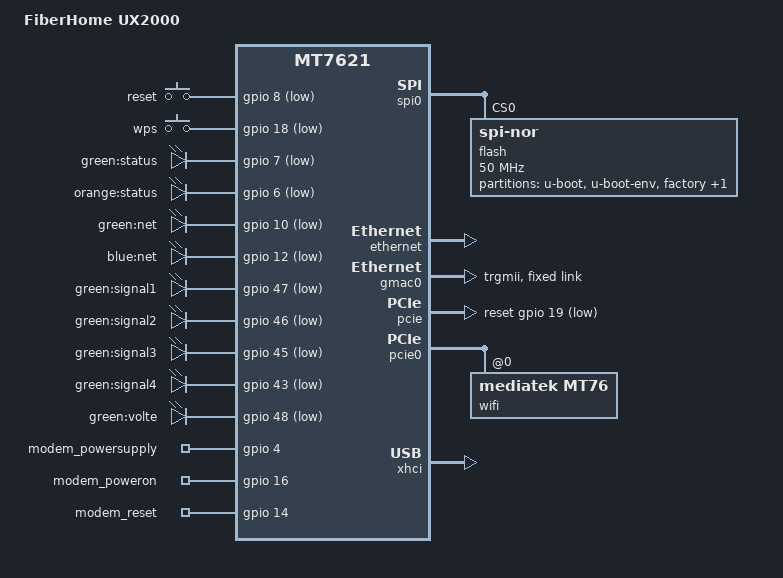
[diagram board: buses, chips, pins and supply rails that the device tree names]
// SPDX-License-Identifier: GPL-2.0-or-later OR MIT
// FiberHome UX2000 (OEM DITO UX2000_CNV) - MT7621AT + Quectel RM500U-CNV (USB 5G)
// Ported from the stock 18.06-era vendor firmware to kernel 6.12 (OpenWrt 25.12).
//
// Wi-Fi: ONE MediaTek MT7615 (DBDC) on PCIe port 0 provides BOTH bands.
//   Stock bootlog: RTMPInitPCIeDevice():device_id=0x7615, DBDC Mode=1,
//   Band0 = ch1 2x2 (2.4 GHz), Band1 = ch36 2x2 (5 GHz).
//   There is NO MT7603 and NO MT7662 on this board; PCIe ports 1 and 2 are
//   physically unpopulated ("PCIe port 1/2 link down" in the stock log).
//   EEPROM lives at Factory offset 0x0 (1024 bytes). Byte 0x3e = 0x30, so
//   MT_EE_NIC_WIFI_CONF_BAND_SEL == 3 == MT_EE_DBDC, which makes mt7615e set
//   dbdc_support and register the second (5 GHz) phy from the same chip.

/dts-v1/;

#include "mt7621.dtsi"

#include <dt-bindings/gpio/gpio.h>
#include <dt-bindings/input/input.h>

/ {
	compatible = "fiberhome,ux2000", "mediatek,mt7621-soc";
	model = "FiberHome UX2000";

	aliases {
		led-boot        = &led_status_green;
		led-failsafe    = &led_status_orange;
		led-running     = &led_status_green;
		led-upgrade     = &led_status_orange;
		label-mac-device = &gmac0;
	};

	chosen {
		bootargs = "console=ttyS0,115200";
	};

	keys {
		compatible = "gpio-keys";

		reset {
			label = "reset";
			gpios = <&gpio 8 GPIO_ACTIVE_LOW>;
			linux,code = <KEY_RESTART>;
		};

		wps {
			label = "wps";
			gpios = <&gpio 18 GPIO_ACTIVE_LOW>;
			linux,code = <KEY_WPS_BUTTON>;
		};
	};

	leds {
		compatible = "gpio-leds";

		/* Power LED is a single bi-color LED. Verified by GPIO dump:
		 *   gpio6 = ORANGE element (clear/low = on)
		 *   gpio7 = GREEN  element (clear/low = on)
		 * Both are active-low. Original DTS had these swapped, so the
		 * green-labeled node drove the orange element -> the box booted
		 * with an orange power LED. Green now carries the running/boot
		 * alias and lights at power-on; orange is used for
		 * failsafe/upgrade only.
		 */
		led_status_green: status_green {
			label = "green:status";
			gpios = <&gpio 7 GPIO_ACTIVE_LOW>;
			default-state = "on";
		};

		led_status_orange: status_orange {
			label = "orange:status";
			gpios = <&gpio 6 GPIO_ACTIVE_LOW>;
		};

		led_net_green: net_green {
			label = "green:net";
			gpios = <&gpio 10 GPIO_ACTIVE_LOW>;
		};

		led_net_blue: net_blue {
			label = "blue:net";
			gpios = <&gpio 12 GPIO_ACTIVE_LOW>;
		};

		/* RF signal-strength bars. Verified ordering from GPIO dump
		 * (clear = LED on): gpio47 = 1st bar ... gpio43 = 4th bar,
		 * gpio48 = voLTE/voNR indicator.
		 */
		led_signal0 {
			label = "green:signal1";
			gpios = <&gpio 47 GPIO_ACTIVE_LOW>;
		};

		led_signal1 {
			label = "green:signal2";
			gpios = <&gpio 46 GPIO_ACTIVE_LOW>;
		};

		led_signal2 {
			label = "green:signal3";
			gpios = <&gpio 45 GPIO_ACTIVE_LOW>;
		};

		led_signal3 {
			label = "green:signal4";
			gpios = <&gpio 43 GPIO_ACTIVE_LOW>;
		};

		led_line {
			label = "green:volte";
			gpios = <&gpio 48 GPIO_ACTIVE_LOW>;
		};
	};

	// Modem control lines (Quectel RM500U). Exposed as /sys/class/gpio exports
	// via the gpio-export driver (hack-6.12/800-... patch).
	// Stock DTS encodes all three with flag 0x0 == GPIO_ACTIVE_HIGH.
	gpio-export {
		compatible = "gpio-export";
		#size-cells = <0>;

		modem_powersupply {
			gpio-export,name = "modem_powersupply";
			gpio-export,output = <1>;
			gpios = <&gpio 4 GPIO_ACTIVE_HIGH>;
		};

		modem_poweron {
			gpio-export,name = "modem_poweron";
			gpio-export,output = <1>;
			gpios = <&gpio 16 GPIO_ACTIVE_HIGH>;
		};

		modem_reset {
			gpio-export,name = "modem_reset";
			gpio-export,output = <0>;
			gpios = <&gpio 14 GPIO_ACTIVE_HIGH>;
		};
	};
};

&spi0 {
	status = "okay";

	flash@0 {
		compatible = "jedec,spi-nor";
		reg = <0>;
		spi-max-frequency = <50000000>;
		m25p,fast-read;

		partitions {
			compatible = "fixed-partitions";
			#address-cells = <1>;
			#size-cells = <1>;

			partition@0 {
				label = "u-boot";
				reg = <0x00000 0x30000>;
				read-only;
			};

			partition@30000 {
				label = "u-boot-env";
				reg = <0x30000 0x10000>;
			};

			/* NOTE: the DragonBluep U-Boot in use declares
			 *   mtdparts=raspi:192k(u-boot),64k(u-boot-env),64k(factory),-(firmware)
			 * so factory is 64k (NOT the stock 128k) and firmware starts
			 * at 0x50000. These MUST match the bootloader or U-Boot writes
			 * the image somewhere the kernel does not look.
			 */
			factory: partition@40000 {
				label = "factory";
				reg = <0x40000 0x10000>;
				/* NOT marked read-only: MTD enforces that flag in the
				 * kernel and even "mtd -f write" cannot override it,
				 * which makes restoring calibration data impossible
				 * on-device. Keep it writable so the EEPROM/MAC region
				 * can be reflashed if it is ever erased.
				 */

				nvmem-layout {
					compatible = "fixed-layout";
					#address-cells = <1>;
					#size-cells = <1>;

					/* MT7615 EEPROM cell MUST be >= MT7615_EEPROM_FULL_SIZE
					 * (18176 = 0x4700), NOT MT7615_EEPROM_SIZE (0x400).
					 * mt7615_eeprom_load() calls
					 *   mt76_eeprom_init(dev, MT7615_EEPROM_FULL_SIZE)
					 * and mt76_get_of_data_from_nvmem() rejects the cell
					 * with -EINVAL when "retlen < len". A 0x400 cell is
					 * silently dropped, the driver falls back to efuse
					 * defaults, dbdc_support is never set, and you get a
					 * single phy0 carrying both bands instead of
					 * phy0 (2.4G) + phy1 (5G).
					 * 0x4da8 matches mt7621_zyxel_lte3301-plus.dts, which
					 * is the same single-MT7615-DBDC topology.
					 */
					eeprom_factory_0: eeprom@0 {
						reg = <0x0 0x4da8>;
					};

					macaddr_factory_e000: macaddr@e000 {
						reg = <0xe000 0x6>;
					};

					macaddr_factory_e006: macaddr@e006 {
						reg = <0xe006 0x6>;
					};
				};
			};

			/* firmware starts at 0x50000 to match the bootloader's
			 * "-(firmware)" (rest of a 32 MiB chip) = 0x1FB0000.
			 * There is no separate "config" partition in this map.
			 *
			 * The image is built as a LEGACY uImage
			 * ("KERNEL := ... | uImage none"), so the splitter must be
			 * denx,uimage. With denx,fit the FIT splitter scans for an
			 * FDT magic, latches onto the DTB that append-dtb glued to
			 * the kernel, and then reports
			 *   "no rootfs found after FIT image"
			 * -> VFS panic, unable to mount root.
			 */
			partition@50000 {
				label = "firmware";
				reg = <0x50000 0x01FB0000>;
				compatible = "denx,uimage";
			};

		};
	};
};

&ethernet {
	status = "okay";
	pinctrl-0 = <&mdio_pins>, <&rgmii1_pins>;
};

&gmac0 {
	phy-mode = "trgmii";
	nvmem-cells = <&macaddr_factory_e000>;
	nvmem-cell-names = "mac-address";

	fixed-link {
		speed = <1000>;
		full-duplex;
		pause;
	};
};

&switch0 {
	mediatek,mcm;

	ports {
		/* The MT7530 PHY indices are wired OPPOSITE to the silkscreen.
		 * Confirmed by the user's LuCI screenshot: OpenWrt "lan1" is
		 * the physical LAN4 port, and OpenWrt "lan4" is the physical
		 * LAN1 port (the WAN). The user wants the names swapped so the
		 * DSA label matches the silkscreen: port@3 (physical LAN1) ->
		 * lan1 (and is the WAN), port@0 (physical LAN4) -> lan4.
		 */
		port@0 {
			status = "okay";
			label = "lan4";
		};

		port@1 {
			status = "okay";
			label = "lan3";
		};

		port@2 {
			status = "okay";
			label = "lan2";
		};

		port@3 {
			status = "okay";
			label = "lan1";   /* physical LAN1 = WAN port */
		};

		port@6 {
			reg = <6>;
			ethernet = <&gmac0>;
			phy-mode = "trgmii";

			fixed-link {
				speed = <1000>;
				full-duplex;
				pause;
			};
		};
	};
};

&pcie {
	status = "okay";
	/* Stock DTS: reset-gpios = <&gpio 0x13 GPIO_ACTIVE_LOW> == GPIO 19,
	 * which is also the mt7621.dtsi default. (0x13 is hex, not decimal 13.)
	 */
	reset-gpios = <&gpio 19 GPIO_ACTIVE_LOW>;
};

/* Single MT7615 in DBDC mode: one PCIe endpoint, two phys (2.4 + 5 GHz).
 * Do NOT add ieee80211-freq-limit here - it would clamp the chip to one band
 * and kill the DBDC second phy.
 */
&pcie0 {
	wifi@0,0 {
		compatible = "mediatek,mt76";
		reg = <0x0000 0 0 0 0>;
		/* Only the "eeprom" cell is supplied. The stock EEPROM already
		 * carries the dedicated WiFi MAC at offset 0x0004
		 * (00:1e:a8:a1:15:a0), which mt76 reads itself. Passing a
		 * "mac-address" cell pointing at factory 0xe000 would override
		 * it with the ETHERNET MAC, making both APs share the eth0
		 * BSSID.
		 */
		nvmem-cells = <&eeprom_factory_0>;
		nvmem-cell-names = "eeprom";
	};
};

&xhci {
	status = "okay";
};

/* NOTE: &sdhci is intentionally left disabled (as in the stock DTS).
 * The MT7621 "sdhci" pin group covers pins 41-48, which this board wires to
 * the signal/line LEDs (GPIO 43,45,46,47,48). Enabling the SD controller
 * steals those pins and the LEDs stop working.
 */

&state_default {
	gpio {
		groups = "i2c", "uart2", "uart3", "rgmii2", "sdhci", "jtag", "wdt";
		function = "gpio";
	};
};
